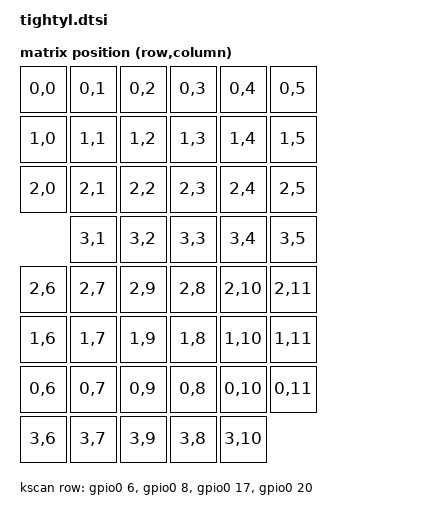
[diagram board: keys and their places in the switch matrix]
#include <dt-bindings/zmk/matrix_transform.h>

#include "tightyl-layouts.dtsi"

/ {
    chosen {
        zmk,physical-layout = &default_layout;
    };

    kscan: kscan {
        compatible = "zmk,kscan-gpio-matrix";
        diode-direction = "col2row";
        wakeup-source;

        row-gpios
            = <&gpio0 6  (GPIO_ACTIVE_HIGH | GPIO_PULL_DOWN)>  /* P0.06 */
            , <&gpio0 8  (GPIO_ACTIVE_HIGH | GPIO_PULL_DOWN)>  /* P0.08 */
            , <&gpio0 17 (GPIO_ACTIVE_HIGH | GPIO_PULL_DOWN)>  /* P0.17 */
            , <&gpio0 20 (GPIO_ACTIVE_HIGH | GPIO_PULL_DOWN)>  /* P0.20 */
            ;
    };

    default_transform: default_transform {
        compatible = "zmk,matrix-transform";

        /* 12 logical columns: 6 left + 6 right */
        columns = <12>;
        rows = <4>;

        map = <
            /* LEFT — already verified */
            RC(0, 0) RC(0, 1) RC(0, 2) RC(0, 3) RC(0, 4) RC(0, 5)
            RC(1, 0) RC(1, 1) RC(1, 2) RC(1, 3) RC(1, 4) RC(1, 5)
            RC(2, 0) RC(2, 1) RC(2, 2) RC(2, 3) RC(2, 4) RC(2, 5)
                     RC(3, 1) RC(3, 2) RC(3, 3) RC(3, 4) RC(3, 5)

            /*
             * RIGHT
             *
             * Logical physical order:
             *
             * Y     U     I     O     P     BSPC
             * H     J     K     L     ;     '
             * N     M     ,     .     /     \
             * SPACE NUM   SYM   [     ]
             *
             * Right overlay has col-offset = 6.
             */

            /* physical top = matrix row 2 */
            RC(2, 6) RC(2, 7) RC(2, 9) RC(2, 8) RC(2, 10) RC(2, 11)

            /* physical home = matrix row 1 */
            RC(1, 6) RC(1, 7) RC(1, 9) RC(1, 8) RC(1, 10) RC(1, 11)

            /* physical bottom = matrix row 0 */
            RC(0, 6) RC(0, 7) RC(0, 9) RC(0, 8) RC(0, 10) RC(0, 11)

            /* thumb row */
            RC(3, 6) RC(3, 7) RC(3, 9) RC(3, 8) RC(3, 10)
        >;
    };
};
